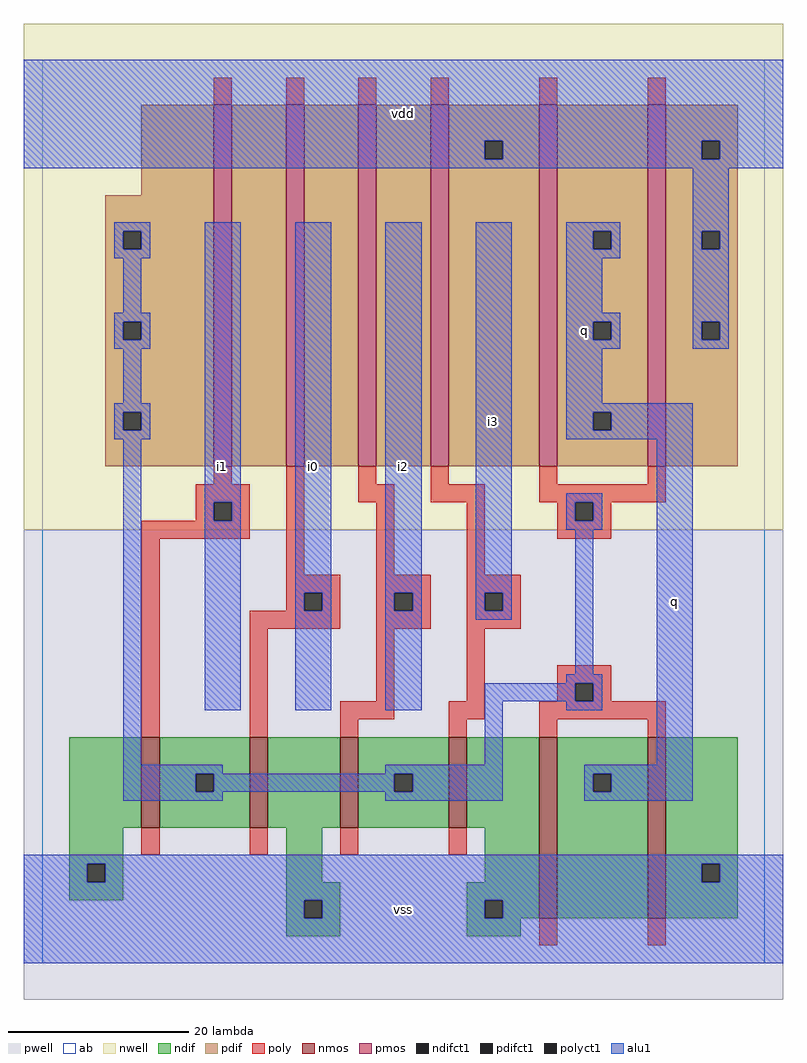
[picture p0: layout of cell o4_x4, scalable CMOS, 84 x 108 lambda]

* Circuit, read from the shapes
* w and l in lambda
.subckt o4_x4 i0 i1 i2 i3 q vdd vss
M1 n1 i1 vss VSUBS nfet w=10 l=2
M2 vss i0 n1 VSUBS nfet w=10 l=2
M3 n1 i2 vss VSUBS nfet w=10 l=2
M4 vss i3 n1 VSUBS nfet w=10 l=2
M5 q n1 vss VSUBS nfet w=20 l=2 m=2
M6 n2 i1 n1 n3 pfet w=40 l=2
M7 n4 i0 n2 n3 pfet w=40 l=2
M8 n5 i2 n4 n3 pfet w=40 l=2
M9 vdd i3 n5 n3 pfet w=40 l=2
M10 q n1 vdd n3 pfet w=40 l=2 m=2
.ends

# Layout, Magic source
magic
tech scmos
<< ab >>
rect 0 0 80 100
<< nwell >>
rect -2 48 82 104
<< pwell >>
rect -2 -4 82 48
<< poly >>
rect 19 95 21 98
rect 27 95 29 98
rect 35 95 37 98
rect 43 95 45 98
rect 55 95 57 98
rect 67 95 69 98
rect 19 53 21 55
rect 17 51 23 53
rect 17 49 19 51
rect 21 49 23 51
rect 11 47 23 49
rect 11 25 13 47
rect 27 43 29 55
rect 35 53 37 55
rect 43 53 45 55
rect 55 53 57 55
rect 67 53 69 55
rect 35 51 39 53
rect 43 51 49 53
rect 55 51 69 53
rect 37 43 39 51
rect 47 43 49 51
rect 57 49 59 51
rect 61 49 63 51
rect 57 47 63 49
rect 27 41 33 43
rect 27 39 29 41
rect 31 39 33 41
rect 23 37 33 39
rect 37 41 43 43
rect 37 39 39 41
rect 41 39 43 41
rect 37 37 43 39
rect 47 41 53 43
rect 47 39 49 41
rect 51 39 53 41
rect 47 37 53 39
rect 23 25 25 37
rect 37 29 39 37
rect 47 29 49 37
rect 57 31 63 33
rect 57 29 59 31
rect 61 29 63 31
rect 33 27 39 29
rect 45 27 49 29
rect 55 27 69 29
rect 33 25 35 27
rect 45 25 47 27
rect 55 25 57 27
rect 67 25 69 27
rect 11 12 13 15
rect 23 12 25 15
rect 33 12 35 15
rect 45 12 47 15
rect 55 2 57 5
rect 67 2 69 5
<< ndif >>
rect 3 15 11 25
rect 13 21 23 25
rect 13 19 17 21
rect 19 19 23 21
rect 13 15 23 19
rect 25 15 33 25
rect 35 21 45 25
rect 35 19 39 21
rect 41 19 45 21
rect 35 15 45 19
rect 47 15 55 25
rect 3 11 9 15
rect 3 9 5 11
rect 7 9 9 11
rect 3 7 9 9
rect 27 9 31 15
rect 49 9 55 15
rect 27 7 33 9
rect 27 5 29 7
rect 31 5 33 7
rect 27 3 33 5
rect 47 7 55 9
rect 47 5 49 7
rect 51 5 55 7
rect 57 21 67 25
rect 57 19 61 21
rect 63 19 67 21
rect 57 5 67 19
rect 69 11 77 25
rect 69 9 73 11
rect 75 9 77 11
rect 69 5 77 9
rect 47 3 53 5
<< pdif >>
rect 11 85 19 95
rect 7 81 19 85
rect 7 79 9 81
rect 11 79 19 81
rect 7 71 19 79
rect 7 69 9 71
rect 11 69 19 71
rect 7 61 19 69
rect 7 59 9 61
rect 11 59 19 61
rect 7 55 19 59
rect 21 55 27 95
rect 29 55 35 95
rect 37 55 43 95
rect 45 91 55 95
rect 45 89 49 91
rect 51 89 55 91
rect 45 55 55 89
rect 57 81 67 95
rect 57 79 61 81
rect 63 79 67 81
rect 57 71 67 79
rect 57 69 61 71
rect 63 69 67 71
rect 57 61 67 69
rect 57 59 61 61
rect 63 59 67 61
rect 57 55 67 59
rect 69 91 77 95
rect 69 89 73 91
rect 75 89 77 91
rect 69 81 77 89
rect 69 79 73 81
rect 75 79 77 81
rect 69 71 77 79
rect 69 69 73 71
rect 75 69 77 71
rect 69 55 77 69
<< alu1 >>
rect -2 91 82 100
rect -2 89 49 91
rect 51 89 73 91
rect 75 89 82 91
rect -2 88 82 89
rect 8 81 12 82
rect 8 79 9 81
rect 11 79 12 81
rect 8 78 12 79
rect 9 72 11 78
rect 8 71 12 72
rect 8 69 9 71
rect 11 69 12 71
rect 8 68 12 69
rect 9 62 11 68
rect 8 61 12 62
rect 8 59 9 61
rect 11 59 12 61
rect 8 58 12 59
rect 9 22 11 58
rect 18 51 22 82
rect 18 49 19 51
rect 21 49 22 51
rect 18 28 22 49
rect 28 41 32 82
rect 28 39 29 41
rect 31 39 32 41
rect 28 28 32 39
rect 38 41 42 82
rect 38 39 39 41
rect 41 39 42 41
rect 38 28 42 39
rect 48 41 52 82
rect 58 81 64 82
rect 58 79 61 81
rect 63 79 64 81
rect 58 78 64 79
rect 72 81 76 88
rect 72 79 73 81
rect 75 79 76 81
rect 58 72 62 78
rect 58 71 64 72
rect 58 69 61 71
rect 63 69 64 71
rect 58 68 64 69
rect 72 71 76 79
rect 72 69 73 71
rect 75 69 76 71
rect 72 68 76 69
rect 58 62 62 68
rect 58 61 72 62
rect 58 59 61 61
rect 63 59 72 61
rect 58 58 72 59
rect 58 51 62 52
rect 58 49 59 51
rect 61 49 62 51
rect 58 48 62 49
rect 48 39 49 41
rect 51 39 52 41
rect 48 38 52 39
rect 59 32 61 48
rect 58 31 62 32
rect 49 29 59 31
rect 61 29 62 31
rect 49 22 51 29
rect 58 28 62 29
rect 68 22 72 58
rect 9 21 20 22
rect 38 21 51 22
rect 9 19 17 21
rect 19 19 39 21
rect 41 19 51 21
rect 9 18 20 19
rect 38 18 51 19
rect 60 21 72 22
rect 60 19 61 21
rect 63 19 72 21
rect 60 18 72 19
rect -2 11 82 12
rect -2 9 5 11
rect 7 9 73 11
rect 75 9 82 11
rect -2 7 82 9
rect -2 5 29 7
rect 31 5 49 7
rect 51 5 82 7
rect -2 0 82 5
<< nmos >>
rect 11 15 13 25
rect 23 15 25 25
rect 33 15 35 25
rect 45 15 47 25
rect 55 5 57 25
rect 67 5 69 25
<< pmos >>
rect 19 55 21 95
rect 27 55 29 95
rect 35 55 37 95
rect 43 55 45 95
rect 55 55 57 95
rect 67 55 69 95
<< polyct1 >>
rect 19 49 21 51
rect 59 49 61 51
rect 29 39 31 41
rect 39 39 41 41
rect 49 39 51 41
rect 59 29 61 31
<< ndifct1 >>
rect 17 19 19 21
rect 39 19 41 21
rect 5 9 7 11
rect 29 5 31 7
rect 49 5 51 7
rect 61 19 63 21
rect 73 9 75 11
<< pdifct1 >>
rect 9 79 11 81
rect 9 69 11 71
rect 9 59 11 61
rect 49 89 51 91
rect 61 79 63 81
rect 61 69 63 71
rect 61 59 63 61
rect 73 89 75 91
rect 73 79 75 81
rect 73 69 75 71
<< labels >>
rlabel alu1 30 55 30 55 6 i0
rlabel alu1 20 55 20 55 6 i1
rlabel alu1 40 6 40 6 6 vss
rlabel alu1 40 55 40 55 6 i2
rlabel alu1 50 60 50 60 6 i3
rlabel alu1 40 94 40 94 6 vdd
rlabel alu1 70 40 70 40 6 q
rlabel alu1 60 70 60 70 6 q
<< end >>
